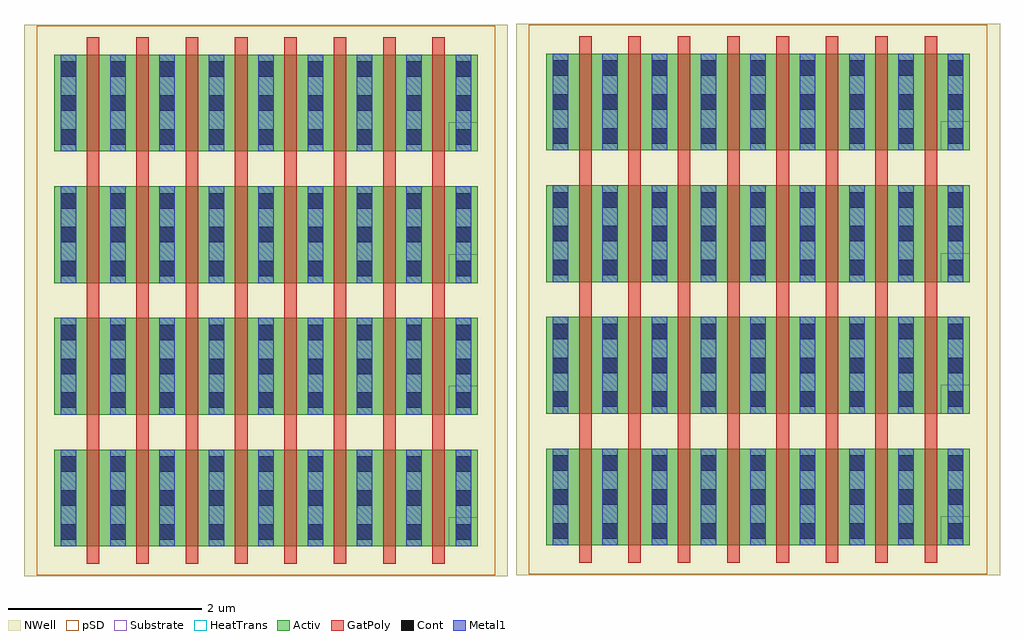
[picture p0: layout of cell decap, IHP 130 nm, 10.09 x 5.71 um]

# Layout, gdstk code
import gdstk
lib = gdstk.Library(unit=1e-6, precision=5e-09)
def R(c, l, rs):  # rectangles x0, y0, x1, y1
    for r in rs: c.add(gdstk.rectangle(r[:2], r[2:], *l))
def A(c, l, x, y, w, h, nx, ny, dx, dy):  # array of equal rectangles
    R(c, l, [(x+i*dx, y+j*dy, x+i*dx+w, y+j*dy+h) for i in range(nx) for j in range(ny)])
Activ = (1, 0)
GatPoly = (5, 0)
Cont = (6, 0)
Metal1 = (8, 0)
pSD = (14, 0)
NWell = (31, 0)
Substrate = (40, 0)
HeatTrans = (51, 0)

pmos_1 = lib.new_cell('pmos$1')
A(pmos_1, Activ, 0, 0, 0.3, 0.3, 9, 1, 0.51, 0)
R(pmos_1, Activ, [(0,0,4.38,1)])
A(pmos_1, GatPoly, 0.34, -0.18, 0.13, 1.36, 8, 1, 0.51, 0)
R(pmos_1, GatPoly, [(0.34,-0.18,0.47,1.18)])
A(pmos_1, Cont, 0.07, 0.07, 0.16, 0.16, 9, 3, 0.51, 0.35)
A(pmos_1, Metal1, 0.58, 0, 0.16, 1, 8, 1, 0.51, 0)
R(pmos_1, Metal1, [(0.07,0,0.23,1), (0.07,0,0.23,1), (0.58,0,0.74,1)])
R(pmos_1, pSD, [(-0.18,-0.3,4.56,1.3)])
R(pmos_1, NWell, [(-0.31,-0.31,4.69,1.31)])
R(pmos_1, Substrate, [(4.08,0,4.38,0.3)])
A(pmos_1, HeatTrans, 0.34, -0.18, 0.13, 1.36, 8, 1, 0.51, 0)
pmos_1.add(gdstk.Label('pmos', (0.405,0.5), layer=63, texttype=0))
pmos_1.add(gdstk.Label('pmos', (0.405,0.5), layer=51, texttype=0))
pmos_1.add(gdstk.Label('pmos', (0.915,0.5), layer=51, texttype=0))
pmos_1.add(gdstk.Label('pmos', (1.425,0.5), layer=51, texttype=0))
pmos_1.add(gdstk.Label('pmos', (1.935,0.5), layer=51, texttype=0))
pmos_1.add(gdstk.Label('pmos', (2.445,0.5), layer=51, texttype=0))
pmos_1.add(gdstk.Label('pmos', (2.955,0.5), layer=51, texttype=0))
pmos_1.add(gdstk.Label('pmos', (3.465,0.5), layer=51, texttype=0))
pmos_1.add(gdstk.Label('pmos', (3.975,0.5), layer=51, texttype=0))

pmos_3 = lib.new_cell('pmos$3')
A(pmos_3, Activ, 0, 0, 0.3, 0.3, 9, 1, 0.51, 0)
R(pmos_3, Activ, [(0,0,4.38,1)])
A(pmos_3, GatPoly, 0.34, -0.18, 0.13, 1.36, 8, 1, 0.51, 0)
R(pmos_3, GatPoly, [(0.34,-0.18,0.47,1.18)])
A(pmos_3, Cont, 0.07, 0.07, 0.16, 0.16, 9, 3, 0.51, 0.35)
A(pmos_3, Metal1, 0.58, 0, 0.16, 1, 8, 1, 0.51, 0)
R(pmos_3, Metal1, [(0.07,0,0.23,1), (0.07,0,0.23,1), (0.58,0,0.74,1)])
R(pmos_3, pSD, [(-0.18,-0.3,4.56,1.3)])
R(pmos_3, NWell, [(-0.31,-0.31,4.69,1.31)])
R(pmos_3, Substrate, [(4.08,0,4.38,0.3)])
A(pmos_3, HeatTrans, 0.34, -0.18, 0.13, 1.36, 8, 1, 0.51, 0)
pmos_3.add(gdstk.Label('pmos', (0.405,0.5), layer=63, texttype=0))
pmos_3.add(gdstk.Label('pmos', (0.405,0.5), layer=51, texttype=0))
pmos_3.add(gdstk.Label('pmos', (0.915,0.5), layer=51, texttype=0))
pmos_3.add(gdstk.Label('pmos', (1.425,0.5), layer=51, texttype=0))
pmos_3.add(gdstk.Label('pmos', (1.935,0.5), layer=51, texttype=0))
pmos_3.add(gdstk.Label('pmos', (2.445,0.5), layer=51, texttype=0))
pmos_3.add(gdstk.Label('pmos', (2.955,0.5), layer=51, texttype=0))
pmos_3.add(gdstk.Label('pmos', (3.465,0.5), layer=51, texttype=0))
pmos_3.add(gdstk.Label('pmos', (3.975,0.5), layer=51, texttype=0))

decap = lib.new_cell('decap')
decap.add(gdstk.Reference(pmos_1, (2.535,3.34)))
decap.add(gdstk.Reference(pmos_1, (2.535,4.7)))
decap.add(gdstk.Reference(pmos_1, (2.535,6.06)))
decap.add(gdstk.Reference(pmos_1, (2.535,7.42)))
decap.add(gdstk.Reference(pmos_1, (7.62,3.35)))
decap.add(gdstk.Reference(pmos_1, (7.62,4.71)))
decap.add(gdstk.Reference(pmos_1, (7.62,6.07)))
decap.add(gdstk.Reference(pmos_1, (7.62,7.43)))
decap.add(gdstk.Reference(pmos_3, (2.535,3.34)))
decap.add(gdstk.Reference(pmos_3, (2.535,4.7)))
decap.add(gdstk.Reference(pmos_3, (2.535,6.06)))
decap.add(gdstk.Reference(pmos_3, (2.535,7.42)))
decap.add(gdstk.Reference(pmos_3, (7.62,3.35)))
decap.add(gdstk.Reference(pmos_3, (7.62,4.71)))
decap.add(gdstk.Reference(pmos_3, (7.62,6.07)))
decap.add(gdstk.Reference(pmos_3, (7.62,7.43)))

lib.write_gds('decap.gds')
